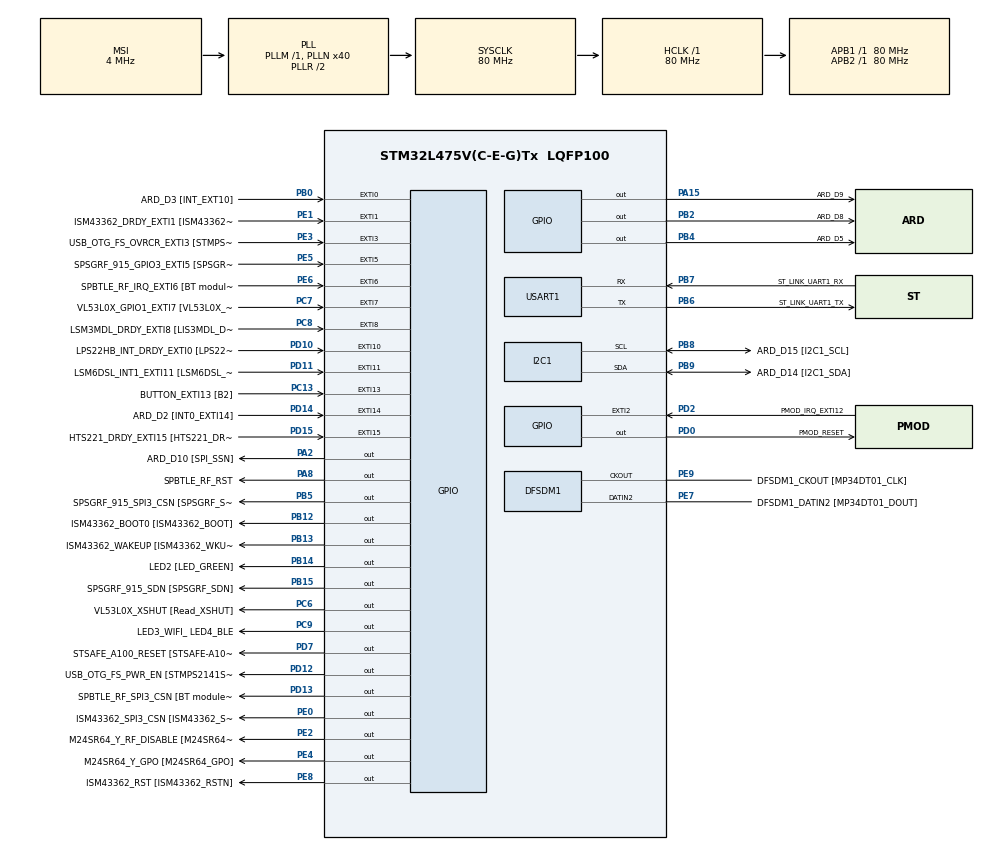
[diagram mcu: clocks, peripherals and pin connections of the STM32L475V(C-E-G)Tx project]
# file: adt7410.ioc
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I2C1.Timing=0x10909CEC
Mcu.Family=STM32L4
Mcu.Name=STM32L475V(C-E-G)Tx
Mcu.Package=LQFP100
NVIC.EXTI15_10_IRQn=true\:0\:0\:false\:false\:true\:true\:true\:true
NVIC.EXTI9_5_IRQn=true\:0\:0\:false\:false\:true\:true\:true\:true
NVIC.PriorityGroup=NVIC_PRIORITYGROUP_4
PA0.GPIO_Label=ARD_D1 [UART4_TX]
PA0.Signal=UART4_TX
PA1.GPIO_Label=ARD_D0 [UART4_RX]
PA1.Signal=UART4_RX
PA10.GPIO_Label=USB_OTG_FS_ID
PA10.Signal=USB_OTG_FS_ID
PA11.GPIO_Label=USB_OTG_FS_DM
PA11.Signal=USB_OTG_FS_DM
PA12.GPIO_Label=USB_OTG_FS_DP
PA12.Signal=USB_OTG_FS_DP
PA13\ (JTMS-SWDIO).GPIO_Label=SYS_JTMS_SWDIO
PA13\ (JTMS-SWDIO).Mode=Serial_Wire
PA13\ (JTMS-SWDIO).Signal=SYS_JTMS-SWDIO
PA14\ (JTCK-SWCLK).GPIO_Label=SYS_JTCK_SWCLK
PA14\ (JTCK-SWCLK).Mode=Serial_Wire
PA14\ (JTCK-SWCLK).Signal=SYS_JTCK-SWCLK
PA15\ (JTDI).GPIO_Label=ARD_D9
PA15\ (JTDI).Signal=GPIO_Output
PA2.GPIO_Label=ARD_D10 [SPI_SSN]
PA2.Signal=GPIO_Output
PA3.GPIO_Label=ARD_D4
PA3.Signal=S_TIM2_CH4
PA4.GPIO_Label=ARD_D7
PA4.Signal=ADCx_IN9
PA5.GPIO_Label=ARD_D13 [SPI1_SCK]
PA5.Signal=SPI1_SCK
PA6.GPIO_Label=ARD_D12 [SPI1_MISO]
PA6.Signal=SPI1_MISO
PA7.GPIO_Label=ARD_D11 [SPI1_MOSI]
PA7.Signal=SPI1_MOSI
PA8.GPIO_Label=SPBTLE_RF_RST
PA8.Signal=GPIO_Output
PA9.GPIO_Label=USB_OTG_FS_VBUS [STMPS2141STR_OUT]
PA9.Signal=USB_OTG_FS_VBUS
PB0.GPIO_Label=ARD_D3 [INT_EXT10]
PB0.Signal=GPXTI0
PB1.GPIO_Label=ARD_D6 [ADC1_IN6]
PB1.Signal=ADCx_IN16
PB10.GPIO_Label=INTERNAL_I2C2_SCL [VL53L0X_SCL]
PB10.GPIO_Pu=GPIO_PULLUP
PB10.Signal=I2C2_SCL
PB11.GPIO_Label=INTERNAL_I2C2_SDA [VL53L0X_SDA]
PB11.GPIO_Pu=GPIO_PULLUP
PB11.Signal=I2C2_SDA
PB12.GPIO_Label=ISM43362_BOOT0 [ISM43362_BOOT]
PB12.Signal=GPIO_Output
PB13.GPIO_Label=ISM43362_WAKEUP [ISM43362_WKUP]
PB13.Signal=GPIO_Output
PB14.GPIO_Label=LED2 [LED_GREEN]
PB14.Signal=GPIO_Output
PB15.GPIO_Label=SPSGRF_915_SDN [SPSGRF_SDN]
PB15.Signal=GPIO_Output
PB2.GPIO_Label=ARD_D8
PB2.Signal=GPIO_Output
PB3\ (JTDO-TRACESWO).GPIO_Label=SYS_JTD0_SWO
PB3\ (JTDO-TRACESWO).Signal=SYS_JTDO-SWO
PB4\ (NJTRST).GPIO_Label=ARD_D5
PB4\ (NJTRST).Signal=GPIO_Output
PB5.GPIO_Label=SPSGRF_915_SPI3_CSN [SPSGRF_SPI_CS]
PB5.PinState=GPIO_PIN_SET
PB5.Signal=GPIO_Output
PB6.GPIO_Label=ST_LINK_UART1_TX
PB6.Mode=Asynchronous
PB6.Signal=USART1_TX
PB7.GPIO_Label=ST_LINK_UART1_RX
PB7.Mode=Asynchronous
PB7.Signal=USART1_RX
PB8.GPIO_Label=ARD_D15 [I2C1_SCL]
PB8.Mode=I2C
PB8.Signal=I2C1_SCL
PB9.GPIO_Label=ARD_D14 [I2C1_SDA]
PB9.Mode=I2C
PB9.Signal=I2C1_SDA
PC0.GPIO_Label=ARD_A5 [ADC]
PC0.Signal=ADCx_IN1
PC1.GPIO_Label=ARD_A4 [ADC]
PC1.Signal=ADCx_IN2
PC10.GPIO_Label=INTERNAL_SPI3_SCK [BT module_SPI_SCLK] [ISM43362_SCK]
PC10.Signal=SPI3_SCK
PC11.GPIO_Label=INTERNAL_SPI3_MISO [BT module_SPI_MISO] [ISM43362_MISO]
PC11.Signal=SPI3_MISO
PC12.GPIO_Label=INTERNAL_SPI3_MOSI [BT module_SPI_MOSI] [ISM43362_MOSI]
PC12.Signal=SPI3_MOSI
PC13.GPIO_Label=BUTTON_EXTI13 [B2]
PC13.GPIO_ModeDefaultEXTI=GPIO_MODE_IT_FALLING
PC13.Signal=GPXTI13
PC14-OSC32_IN\ (PC14).Mode=LSE-External-Oscillator
PC14-OSC32_IN\ (PC14).Signal=RCC_OSC32_IN
PC15-OSC32_OUT\ (PC15).Mode=LSE-External-Oscillator
PC15-OSC32_OUT\ (PC15).Signal=RCC_OSC32_OUT
PC2.GPIO_Label=ARD_A3 [ADC]
PC2.Signal=ADCx_IN3
PC3.GPIO_Label=ARD_A2 [ADC]
PC3.Signal=ADCx_IN4
PC4.GPIO_Label=ARD_A1 [ADC]
PC4.Signal=ADCx_IN13
PC5.GPIO_Label=ARD_A0 [ADC]
PC5.Signal=ADCx_IN14
PC6.GPIO_Label=VL53L0X_XSHUT [Read_XSHUT]
PC6.Signal=GPIO_Output
PC7.GPIO_Label=VL53L0X_GPIO1_EXTI7 [VL53L0X_GPIO1]
PC7.Signal=GPXTI7
PC8.GPIO_Label=LSM3MDL_DRDY_EXTI8 [LIS3MDL_DRDY]
PC8.Signal=GPXTI8
PC9.GPIO_Label=LED3_WIFI_ LED4_BLE
PC9.Signal=GPIO_Output
PD0.GPIO_Label=PMOD_RESET
PD0.Signal=GPIO_Output
PD1.GPIO_Label=PMOD_SPI2_SCK
PD1.Signal=SPI2_SCK
PD10.GPIO_Label=LPS22HB_INT_DRDY_EXTI0 [LPS22HB_INT_DRDY] 
PD10.Signal=GPXTI10
PD11.GPIO_Label=LSM6DSL_INT1_EXTI11 [LSM6DSL_INT1]
PD11.Signal=GPXTI11
PD12.GPIO_Label=USB_OTG_FS_PWR_EN [STMPS2141STR_EN]
PD12.Signal=GPIO_Output
PD13.GPIO_Label=SPBTLE_RF_SPI3_CSN [BT module_SPI_CS]
PD13.PinState=GPIO_PIN_SET
PD13.Signal=GPIO_Output
PD14.GPIO_Label=ARD_D2 [INT0_EXTI14]
PD14.Signal=GPXTI14
PD15.GPIO_Label=HTS221_DRDY_EXTI15 [HTS221_DRDY]
PD15.Signal=GPXTI15
PD2.GPIO_Label=PMOD_IRQ_EXTI12
PD2.Signal=GPXTI2
PD3.GPIO_Label=PMOD_UART2_CTS
PD3.Signal=USART2_CTS
PD4.GPIO_Label=PMOD_UART2_RTS
PD4.Signal=USART2_RTS
PD5.GPIO_Label=PMOD_UART2_TX
PD5.Signal=USART2_TX
PD6.GPIO_Label=PMOD_UART2_RX
PD6.Signal=USART2_RX
PD7.GPIO_Label=STSAFE_A100_RESET [STSAFE-A100_RESET]
PD7.Signal=GPIO_Output
PD8.GPIO_Label=INTERNAL_UART3_TX [ISM43362_RX]
PD8.Signal=USART3_TX
PD9.GPIO_Label=INTERNAL_UART3_RX [ISM43362_TX]
PD9.Signal=USART3_RX
PE0.GPIO_Label=ISM43362_SPI3_CSN [ISM43362_SSN]
PE0.PinState=GPIO_PIN_SET
PE0.Signal=GPIO_Output
PE1.GPIO_Label=ISM43362_DRDY_EXTI1 [ISM43362_DATARDY]
PE1.Signal=GPXTI1
PE10.GPIO_Label=QUADSPI_CLK [MX25R6435F_SCLK]
PE10.Signal=QUADSPI_CLK
PE11.GPIO_Label=QUADSPI_NCS [MX25R6435F_SCLK]
PE11.Signal=QUADSPI_NCS
PE12.GPIO_Label=OQUADSPI_BK1_IO0 [MX25R6435F_IO0]
PE12.Signal=QUADSPI_BK1_IO0
PE13.GPIO_Label=QUADSPI_BK1_IO1 [MX25R6435F_IO1]
PE13.Signal=QUADSPI_BK1_IO1
PE14.GPIO_Label=QUAD_SPI_BK1_IO2 [MX25R6435F_IO2]
PE14.Signal=QUADSPI_BK1_IO2
PE15.GPIO_Label=QUAD_SPI_BK1_IO3 [MX25R6435F_IO3]
PE15.Signal=QUADSPI_BK1_IO3
PE2.GPIO_Label=M24SR64_Y_RF_DISABLE [M24SR64_RFDIS]
PE2.Signal=GPIO_Output
PE3.GPIO_Label=USB_OTG_FS_OVRCR_EXTI3 [STMPS2141STR_FAULT]
PE3.Signal=GPXTI3
PE4.GPIO_Label=M24SR64_Y_GPO [M24SR64_GPO]
PE4.Signal=GPIO_Output
PE5.GPIO_Label=SPSGRF_915_GPIO3_EXTI5 [SPSGRF_GPIO_3]
PE5.Signal=GPXTI5
PE6.GPIO_Label=SPBTLE_RF_IRQ_EXTI6 [BT module_SPI_IRQ]
PE6.Signal=GPXTI6
PE7.GPIO_Label=DFSDM1_DATIN2 [MP34DT01_DOUT]
PE7.Signal=S_DATAIN2DFSDM1
PE8.GPIO_Label=ISM43362_RST [ISM43362_RSTN]
PE8.Signal=GPIO_Output
PE9.GPIO_Label=DFSDM1_CKOUT [MP34DT01_CLK]
PE9.Signal=S_CKOUTDFSDM1
ProjectManager.HeapSize=0x200
ProjectManager.StackSize=0x400
ProjectManager.TargetToolchain=STM32CubeIDE
RCC.ADCFreq_Value=48000000
RCC.AHBFreq_Value=80000000
RCC.APB1Freq_Value=80000000
RCC.APB1TimFreq_Value=80000000
RCC.APB2Freq_Value=80000000
RCC.APB2TimFreq_Value=80000000
RCC.CortexFreq_Value=80000000
RCC.HCLKFreq_Value=80000000
RCC.HSE_VALUE=8000000
RCC.HSI_VALUE=16000000
RCC.MSI_VALUE=4000000
RCC.PLLN=40
RCC.PLLSAI1N=24
RCC.SYSCLKFreq_VALUE=80000000
RCC.SYSCLKSource=RCC_SYSCLKSOURCE_PLLCLK
RCC.USBFreq_Value=48000000
RCC.VCOOutputFreq_Value=160000000
SH.ADCx_IN1.0=ADC1_IN1
SH.ADCx_IN13.0=ADC1_IN13
SH.ADCx_IN14.0=ADC1_IN14
SH.ADCx_IN16.0=ADC1_IN16
SH.ADCx_IN2.0=ADC1_IN2
SH.ADCx_IN3.0=ADC1_IN3
SH.ADCx_IN4.0=ADC1_IN4
SH.ADCx_IN9.0=ADC1_IN9
SH.S_CKOUTDFSDM1.0=DFSDM1_CKOUT,CKOUT
SH.S_CKOUTDFSDM1.1=DFSDM1_CKOUT,PDM_SPI_Input_from_ch12_and_Internal_Clock
SH.S_DATAIN2DFSDM1.0=DFSDM1_DATIN2,PDM_SPI_Input_from_ch12_and_Internal_Clock
SH.S_TIM2_CH4.0=TIM2_CH4
USART1.VirtualMode-Asynchronous=VM_ASYNC
board=B-L475E-IOT01A1

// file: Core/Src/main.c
/* USER CODE BEGIN Header */
/**
 ******************************************************************************
 * @file           : main.c
 * @brief          : Main program body
 ******************************************************************************
 * @attention
 *
 * Copyright (c) 2022 STMicroelectronics.
 * All rights reserved.
 *
 * This software is licensed under terms that can be found in the LICENSE file
 * in the root directory of this software component.
 * If no LICENSE file comes with this software, it is provided AS-IS.
 *
 ******************************************************************************
 */
/* USER CODE END Header */
#include "main.h"

/* USER CODE BEGIN Includes */
#include "stdio.h"
#include "adt74x0.h"
/* USER CODE END Includes */

/* USER CODE BEGIN PTD */
#define ADT7410_ADDR (0x48 << 1)
#define ADT7410_CHIP_ID 0xCB
/* USER CODE END PTD */

DFSDM_Channel_HandleTypeDef hdfsdm1_channel1;

I2C_HandleTypeDef hi2c1;

UART_HandleTypeDef huart1;

void SystemClock_Config(void);
static void MX_GPIO_Init(void);
static void MX_DFSDM1_Init(void);
static void MX_USART1_UART_Init(void);
static void MX_I2C1_Init(void);

/* USER CODE BEGIN 0 */
int __io_putchar(int ch) {
	HAL_UART_Transmit(&huart1, (uint8_t*) &ch, 1, 0xFFFF);
	return ch;
}
/* USER CODE END 0 */

int main(void) {
	/* USER CODE BEGIN 1 */
	uint8_t chip_id;
	float tempC;
	HAL_StatusTypeDef result;

	/* USER CODE END 1 */

	/* MCU Configuration--------------------------------------------------------*/

	/* Reset of all peripherals, Initializes the Flash interface and the Systick. */
	HAL_Init();

	/* Configure the system clock */
	SystemClock_Config();

	/* Initialize all configured peripherals */
	MX_GPIO_Init();
	MX_DFSDM1_Init();
	MX_USART1_UART_Init();
	MX_I2C1_Init();
	/* USER CODE BEGIN 2 */

	if (HAL_I2C_IsDeviceReady(&hi2c1, ADT74x0_ADDRESS, 2, HAL_MAX_DELAY)
			!= HAL_OK) {
		Error_Handler();
	}

	if (adt74x0_init(&hi2c1) != HAL_OK) {
		Error_Handler();
	}

	if(adt74x0_read_chip_id(&hi2c1, &chip_id) != HAL_OK){
		Error_Handler();
	}

	if(chip_id != CHIP_ID){
		Error_Handler();
	}

	/* USER CODE END 2 */

	/* Infinite loop */
	while (1) {

		/* USER CODE BEGIN 3 */
		result = adt74x0_read_temp(&hi2c1, &tempC);
		if(result == HAL_OK){
			printf("Temperature = %3.2fC\r\n", tempC);
		}
		HAL_Delay(1000);
	}
	/* USER CODE END 3 */
}

void SystemClock_Config(void) {
	RCC_OscInitTypeDef RCC_OscInitStruct = { 0 };
	RCC_ClkInitTypeDef RCC_ClkInitStruct = { 0 };

	/** Configure the main internal regulator output voltage
	 */
	if (HAL_PWREx_ControlVoltageScaling(PWR_REGULATOR_VOLTAGE_SCALE1)
			!= HAL_OK) {
		Error_Handler();
	}

	/** Configure LSE Drive Capability
	 */
	HAL_PWR_EnableBkUpAccess();
	__HAL_RCC_LSEDRIVE_CONFIG(RCC_LSEDRIVE_LOW);

	/** Initializes the RCC Oscillators according to the specified parameters
	 * in the RCC_OscInitTypeDef structure.
	 */
	RCC_OscInitStruct.OscillatorType = RCC_OSCILLATORTYPE_LSE
			| RCC_OSCILLATORTYPE_MSI;
	RCC_OscInitStruct.LSEState = RCC_LSE_ON;
	RCC_OscInitStruct.MSIState = RCC_MSI_ON;
	RCC_OscInitStruct.MSICalibrationValue = 0;
	RCC_OscInitStruct.MSIClockRange = RCC_MSIRANGE_6;
	RCC_OscInitStruct.PLL.PLLState = RCC_PLL_ON;
	RCC_OscInitStruct.PLL.PLLSource = RCC_PLLSOURCE_MSI;
	RCC_OscInitStruct.PLL.PLLM = 1;
	RCC_OscInitStruct.PLL.PLLN = 40;
	RCC_OscInitStruct.PLL.PLLP = RCC_PLLP_DIV7;
	RCC_OscInitStruct.PLL.PLLQ = RCC_PLLQ_DIV2;
	RCC_OscInitStruct.PLL.PLLR = RCC_PLLR_DIV2;
	if (HAL_RCC_OscConfig(&RCC_OscInitStruct) != HAL_OK) {
		Error_Handler();
	}

	/** Initializes the CPU, AHB and APB buses clocks
	 */
	RCC_ClkInitStruct.ClockType = RCC_CLOCKTYPE_HCLK | RCC_CLOCKTYPE_SYSCLK
			| RCC_CLOCKTYPE_PCLK1 | RCC_CLOCKTYPE_PCLK2;
	RCC_ClkInitStruct.SYSCLKSource = RCC_SYSCLKSOURCE_PLLCLK;
	RCC_ClkInitStruct.AHBCLKDivider = RCC_SYSCLK_DIV1;
	RCC_ClkInitStruct.APB1CLKDivider = RCC_HCLK_DIV1;
	RCC_ClkInitStruct.APB2CLKDivider = RCC_HCLK_DIV1;

	if (HAL_RCC_ClockConfig(&RCC_ClkInitStruct, FLASH_LATENCY_4) != HAL_OK) {
		Error_Handler();
	}

	/** Enable MSI Auto calibration
	 */
	HAL_RCCEx_EnableMSIPLLMode();
}

static void MX_DFSDM1_Init(void) {

	hdfsdm1_channel1.Instance = DFSDM1_Channel1;
	hdfsdm1_channel1.Init.OutputClock.Activation = ENABLE;
	hdfsdm1_channel1.Init.OutputClock.Selection =
	DFSDM_CHANNEL_OUTPUT_CLOCK_SYSTEM;
	hdfsdm1_channel1.Init.OutputClock.Divider = 2;
	hdfsdm1_channel1.Init.Input.Multiplexer = DFSDM_CHANNEL_EXTERNAL_INPUTS;
	hdfsdm1_channel1.Init.Input.DataPacking = DFSDM_CHANNEL_STANDARD_MODE;
	hdfsdm1_channel1.Init.Input.Pins = DFSDM_CHANNEL_FOLLOWING_CHANNEL_PINS;
	hdfsdm1_channel1.Init.SerialInterface.Type = DFSDM_CHANNEL_SPI_RISING;
	hdfsdm1_channel1.Init.SerialInterface.SpiClock =
	DFSDM_CHANNEL_SPI_CLOCK_INTERNAL;
	hdfsdm1_channel1.Init.Awd.FilterOrder = DFSDM_CHANNEL_FASTSINC_ORDER;
	hdfsdm1_channel1.Init.Awd.Oversampling = 1;
	hdfsdm1_channel1.Init.Offset = 0;
	hdfsdm1_channel1.Init.RightBitShift = 0x00;
	if (HAL_DFSDM_ChannelInit(&hdfsdm1_channel1) != HAL_OK) {
		Error_Handler();
	}

}

static void MX_I2C1_Init(void) {

	hi2c1.Instance = I2C1;
	hi2c1.Init.Timing = 0x10909CEC;
	hi2c1.Init.OwnAddress1 = 0;
	hi2c1.Init.AddressingMode = I2C_ADDRESSINGMODE_7BIT;
	hi2c1.Init.DualAddressMode = I2C_DUALADDRESS_DISABLE;
	hi2c1.Init.OwnAddress2 = 0;
	hi2c1.Init.OwnAddress2Masks = I2C_OA2_NOMASK;
	hi2c1.Init.GeneralCallMode = I2C_GENERALCALL_DISABLE;
	hi2c1.Init.NoStretchMode = I2C_NOSTRETCH_DISABLE;
	if (HAL_I2C_Init(&hi2c1) != HAL_OK) {
		Error_Handler();
	}

	/** Configure Analogue filter
	 */
	if (HAL_I2CEx_ConfigAnalogFilter(&hi2c1, I2C_ANALOGFILTER_ENABLE)
			!= HAL_OK) {
		Error_Handler();
	}

	/** Configure Digital filter
	 */
	if (HAL_I2CEx_ConfigDigitalFilter(&hi2c1, 0) != HAL_OK) {
		Error_Handler();
	}

}

static void MX_USART1_UART_Init(void) {

	huart1.Instance = USART1;
	huart1.Init.BaudRate = 115200;
	huart1.Init.WordLength = UART_WORDLENGTH_8B;
	huart1.Init.StopBits = UART_STOPBITS_1;
	huart1.Init.Parity = UART_PARITY_NONE;
	huart1.Init.Mode = UART_MODE_TX_RX;
	huart1.Init.HwFlowCtl = UART_HWCONTROL_NONE;
	huart1.Init.OverSampling = UART_OVERSAMPLING_16;
	huart1.Init.OneBitSampling = UART_ONE_BIT_SAMPLE_DISABLE;
	huart1.AdvancedInit.AdvFeatureInit = UART_ADVFEATURE_NO_INIT;
	if (HAL_UART_Init(&huart1) != HAL_OK) {
		Error_Handler();
	}

}

static void MX_GPIO_Init(void) {
	GPIO_InitTypeDef GPIO_InitStruct = { 0 };

	/* GPIO Ports Clock Enable */
	__HAL_RCC_GPIOE_CLK_ENABLE();
	__HAL_RCC_GPIOC_CLK_ENABLE();
	__HAL_RCC_GPIOA_CLK_ENABLE();
	__HAL_RCC_GPIOB_CLK_ENABLE();
	__HAL_RCC_GPIOD_CLK_ENABLE();

	/*Configure GPIO pin Output Level */
	HAL_GPIO_WritePin(GPIOE,
	M24SR64_Y_RF_DISABLE_Pin | M24SR64_Y_GPO_Pin | ISM43362_RST_Pin,
			GPIO_PIN_RESET);

	/*Configure GPIO pin Output Level */
	HAL_GPIO_WritePin(GPIOA, ARD_D10_Pin | SPBTLE_RF_RST_Pin | ARD_D9_Pin,
			GPIO_PIN_RESET);

	/*Configure GPIO pin Output Level */
	HAL_GPIO_WritePin(GPIOB,
			ARD_D8_Pin | ISM43362_BOOT0_Pin | ISM43362_WAKEUP_Pin | LED2_Pin
					| SPSGRF_915_SDN_Pin | ARD_D5_Pin, GPIO_PIN_RESET);

	/*Configure GPIO pin Output Level */
	HAL_GPIO_WritePin(GPIOD,
	USB_OTG_FS_PWR_EN_Pin | PMOD_RESET_Pin | STSAFE_A100_RESET_Pin,
			GPIO_PIN_RESET);

	/*Configure GPIO pin Output Level */
	HAL_GPIO_WritePin(SPBTLE_RF_SPI3_CSN_GPIO_Port, SPBTLE_RF_SPI3_CSN_Pin,
			GPIO_PIN_SET);

	/*Configure GPIO pin Output Level */
	HAL_GPIO_WritePin(GPIOC, VL53L0X_XSHUT_Pin | LED3_WIFI__LED4_BLE_Pin,
			GPIO_PIN_RESET);

	/*Configure GPIO pin Output Level */
	HAL_GPIO_WritePin(SPSGRF_915_SPI3_CSN_GPIO_Port, SPSGRF_915_SPI3_CSN_Pin,
			GPIO_PIN_SET);

	/*Configure GPIO pin Output Level */
	HAL_GPIO_WritePin(ISM43362_SPI3_CSN_GPIO_Port, ISM43362_SPI3_CSN_Pin,
			GPIO_PIN_SET);

	/*Configure GPIO pins : M24SR64_Y_RF_DISABLE_Pin M24SR64_Y_GPO_Pin ISM43362_RST_Pin ISM43362_SPI3_CSN_Pin */
	GPIO_InitStruct.Pin = M24SR64_Y_RF_DISABLE_Pin | M24SR64_Y_GPO_Pin
			| ISM43362_RST_Pin | ISM43362_SPI3_CSN_Pin;
	GPIO_InitStruct.Mode = GPIO_MODE_OUTPUT_PP;
	GPIO_InitStruct.Pull = GPIO_NOPULL;
	GPIO_InitStruct.Speed = GPIO_SPEED_FREQ_LOW;
	HAL_GPIO_Init(GPIOE, &GPIO_InitStruct);

	/*Configure GPIO pins : USB_OTG_FS_OVRCR_EXTI3_Pin SPSGRF_915_GPIO3_EXTI5_Pin SPBTLE_RF_IRQ_EXTI6_Pin ISM43362_DRDY_EXTI1_Pin */
	GPIO_InitStruct.Pin = USB_OTG_FS_OVRCR_EXTI3_Pin
			| SPSGRF_915_GPIO3_EXTI5_Pin | SPBTLE_RF_IRQ_EXTI6_Pin
			| ISM43362_DRDY_EXTI1_Pin;
	GPIO_InitStruct.Mode = GPIO_MODE_IT_RISING;
	GPIO_InitStruct.Pull = GPIO_NOPULL;
	HAL_GPIO_Init(GPIOE, &GPIO_InitStruct);

	/*Configure GPIO pin : BUTTON_EXTI13_Pin */
	GPIO_InitStruct.Pin = BUTTON_EXTI13_Pin;
	GPIO_InitStruct.Mode = GPIO_MODE_IT_FALLING;
	GPIO_InitStruct.Pull = GPIO_NOPULL;
	HAL_GPIO_Init(BUTTON_EXTI13_GPIO_Port, &GPIO_InitStruct);

	/*Configure GPIO pins : ARD_A5_Pin ARD_A4_Pin ARD_A3_Pin ARD_A2_Pin
	 ARD_A1_Pin ARD_A0_Pin */
	GPIO_InitStruct.Pin = ARD_A5_Pin | ARD_A4_Pin | ARD_A3_Pin | ARD_A2_Pin
			| ARD_A1_Pin | ARD_A0_Pin;
	GPIO_InitStruct.Mode = GPIO_MODE_ANALOG_ADC_CONTROL;
	GPIO_InitStruct.Pull = GPIO_NOPULL;
	HAL_GPIO_Init(GPIOC, &GPIO_InitStruct);

	/*Configure GPIO pins : ARD_D1_Pin ARD_D0_Pin */
	GPIO_InitStruct.Pin = ARD_D1_Pin | ARD_D0_Pin;
	GPIO_InitStruct.Mode = GPIO_MODE_AF_PP;
	GPIO_InitStruct.Pull = GPIO_NOPULL;
	GPIO_InitStruct.Speed = GPIO_SPEED_FREQ_VERY_HIGH;
	GPIO_InitStruct.Alternate = GPIO_AF8_UART4;
	HAL_GPIO_Init(GPIOA, &GPIO_InitStruct);

	/*Configure GPIO pins : ARD_D10_Pin SPBTLE_RF_RST_Pin ARD_D9_Pin */
	GPIO_InitStruct.Pin = ARD_D10_Pin | SPBTLE_RF_RST_Pin | ARD_D9_Pin;
	GPIO_InitStruct.Mode = GPIO_MODE_OUTPUT_PP;
	GPIO_InitStruct.Pull = GPIO_NOPULL;
	GPIO_InitStruct.Speed = GPIO_SPEED_FREQ_LOW;
	HAL_GPIO_Init(GPIOA, &GPIO_InitStruct);

	/*Configure GPIO pin : ARD_D4_Pin */
	GPIO_InitStruct.Pin = ARD_D4_Pin;
	GPIO_InitStruct.Mode = GPIO_MODE_AF_PP;
	GPIO_InitStruct.Pull = GPIO_NOPULL;
	GPIO_InitStruct.Speed = GPIO_SPEED_FREQ_LOW;
	GPIO_InitStruct.Alternate = GPIO_AF1_TIM2;
	HAL_GPIO_Init(ARD_D4_GPIO_Port, &GPIO_InitStruct);

	/*Configure GPIO pin : ARD_D7_Pin */
	GPIO_InitStruct.Pin = ARD_D7_Pin;
	GPIO_InitStruct.Mode = GPIO_MODE_ANALOG_ADC_CONTROL;
	GPIO_InitStruct.Pull = GPIO_NOPULL;
	HAL_GPIO_Init(ARD_D7_GPIO_Port, &GPIO_InitStruct);

	/*Configure GPIO pins : ARD_D13_Pin ARD_D12_Pin ARD_D11_Pin */
	GPIO_InitStruct.Pin = ARD_D13_Pin | ARD_D12_Pin | ARD_D11_Pin;
	GPIO_InitStruct.Mode = GPIO_MODE_AF_PP;
	GPIO_InitStruct.Pull = GPIO_NOPULL;
	GPIO_InitStruct.Speed = GPIO_SPEED_FREQ_VERY_HIGH;
	GPIO_InitStruct.Alternate = GPIO_AF5_SPI1;
	HAL_GPIO_Init(GPIOA, &GPIO_InitStruct);

	/*Configure GPIO pin : ARD_D3_Pin */
	GPIO_InitStruct.Pin = ARD_D3_Pin;
	GPIO_InitStruct.Mode = GPIO_MODE_IT_RISING;
	GPIO_InitStruct.Pull = GPIO_NOPULL;
	HAL_GPIO_Init(ARD_D3_GPIO_Port, &GPIO_InitStruct);

	/*Configure GPIO pin : ARD_D6_Pin */
	GPIO_InitStruct.Pin = ARD_D6_Pin;
	GPIO_InitStruct.Mode = GPIO_MODE_ANALOG_ADC_CONTROL;
	GPIO_InitStruct.Pull = GPIO_NOPULL;
	HAL_GPIO_Init(ARD_D6_GPIO_Port, &GPIO_InitStruct);

	/*Configure GPIO pins : ARD_D8_Pin ISM43362_BOOT0_Pin ISM43362_WAKEUP_Pin LED2_Pin
	 SPSGRF_915_SDN_Pin ARD_D5_Pin SPSGRF_915_SPI3_CSN_Pin */
	GPIO_InitStruct.Pin = ARD_D8_Pin | ISM43362_BOOT0_Pin | ISM43362_WAKEUP_Pin
			| LED2_Pin | SPSGRF_915_SDN_Pin | ARD_D5_Pin
			| SPSGRF_915_SPI3_CSN_Pin;
	GPIO_InitStruct.Mode = GPIO_MODE_OUTPUT_PP;
	GPIO_InitStruct.Pull = GPIO_NOPULL;
	GPIO_InitStruct.Speed = GPIO_SPEED_FREQ_LOW;
	HAL_GPIO_Init(GPIOB, &GPIO_InitStruct);

	/*Configure GPIO pins : QUADSPI_CLK_Pin QUADSPI_NCS_Pin OQUADSPI_BK1_IO0_Pin QUADSPI_BK1_IO1_Pin
	 QUAD_SPI_BK1_IO2_Pin QUAD_SPI_BK1_IO3_Pin */
	GPIO_InitStruct.Pin = QUADSPI_CLK_Pin | QUADSPI_NCS_Pin
			| OQUADSPI_BK1_IO0_Pin | QUADSPI_BK1_IO1_Pin | QUAD_SPI_BK1_IO2_Pin
			| QUAD_SPI_BK1_IO3_Pin;
	GPIO_InitStruct.Mode = GPIO_MODE_AF_PP;
	GPIO_InitStruct.Pull = GPIO_NOPULL;
	GPIO_InitStruct.Speed = GPIO_SPEED_FREQ_VERY_HIGH;
	GPIO_InitStruct.Alternate = GPIO_AF10_QUADSPI;
	HAL_GPIO_Init(GPIOE, &GPIO_InitStruct);

	/*Configure GPIO pins : INTERNAL_I2C2_SCL_Pin INTERNAL_I2C2_SDA_Pin */
	GPIO_InitStruct.Pin = INTERNAL_I2C2_SCL_Pin | INTERNAL_I2C2_SDA_Pin;
	GPIO_InitStruct.Mode = GPIO_MODE_AF_OD;
	GPIO_InitStruct.Pull = GPIO_PULLUP;
	GPIO_InitStruct.Speed = GPIO_SPEED_FREQ_VERY_HIGH;
	GPIO_InitStruct.Alternate = GPIO_AF4_I2C2;
	HAL_GPIO_Init(GPIOB, &GPIO_InitStruct);

	/*Configure GPIO pins : INTERNAL_UART3_TX_Pin INTERNAL_UART3_RX_Pin */
	GPIO_InitStruct.Pin = INTERNAL_UART3_TX_Pin | INTERNAL_UART3_RX_Pin;
	GPIO_InitStruct.Mode = GPIO_MODE_AF_PP;
	GPIO_InitStruct.Pull = GPIO_NOPULL;
	GPIO_InitStruct.Speed = GPIO_SPEED_FREQ_VERY_HIGH;
	GPIO_InitStruct.Alternate = GPIO_AF7_USART3;
	HAL_GPIO_Init(GPIOD, &GPIO_InitStruct);

	/*Configure GPIO pins : LPS22HB_INT_DRDY_EXTI0_Pin LSM6DSL_INT1_EXTI11_Pin ARD_D2_Pin HTS221_DRDY_EXTI15_Pin
	 PMOD_IRQ_EXTI12_Pin */
	GPIO_InitStruct.Pin = LPS22HB_INT_DRDY_EXTI0_Pin | LSM6DSL_INT1_EXTI11_Pin
			| ARD_D2_Pin | HTS221_DRDY_EXTI15_Pin | PMOD_IRQ_EXTI12_Pin;
	GPIO_InitStruct.Mode = GPIO_MODE_IT_RISING;
	GPIO_InitStruct.Pull = GPIO_NOPULL;
	HAL_GPIO_Init(GPIOD, &GPIO_InitStruct);

	/*Configure GPIO pins : USB_OTG_FS_PWR_EN_Pin SPBTLE_RF_SPI3_CSN_Pin PMOD_RESET_Pin STSAFE_A100_RESET_Pin */
	GPIO_InitStruct.Pin = USB_OTG_FS_PWR_EN_Pin | SPBTLE_RF_SPI3_CSN_Pin
			| PMOD_RESET_Pin | STSAFE_A100_RESET_Pin;
	GPIO_InitStruct.Mode = GPIO_MODE_OUTPUT_PP;
	GPIO_InitStruct.Pull = GPIO_NOPULL;
	GPIO_InitStruct.Speed = GPIO_SPEED_FREQ_LOW;
	HAL_GPIO_Init(GPIOD, &GPIO_InitStruct);

	/*Configure GPIO pins : VL53L0X_XSHUT_Pin LED3_WIFI__LED4_BLE_Pin */
	GPIO_InitStruct.Pin = VL53L0X_XSHUT_Pin | LED3_WIFI__LED4_BLE_Pin;
	GPIO_InitStruct.Mode = GPIO_MODE_OUTPUT_PP;
	GPIO_InitStruct.Pull = GPIO_NOPULL;
	GPIO_InitStruct.Speed = GPIO_SPEED_FREQ_LOW;
	HAL_GPIO_Init(GPIOC, &GPIO_InitStruct);

	/*Configure GPIO pins : VL53L0X_GPIO1_EXTI7_Pin LSM3MDL_DRDY_EXTI8_Pin */
	GPIO_InitStruct.Pin = VL53L0X_GPIO1_EXTI7_Pin | LSM3MDL_DRDY_EXTI8_Pin;
	GPIO_InitStruct.Mode = GPIO_MODE_IT_RISING;
	GPIO_InitStruct.Pull = GPIO_NOPULL;
	HAL_GPIO_Init(GPIOC, &GPIO_InitStruct);

	/*Configure GPIO pin : USB_OTG_FS_VBUS_Pin */
	GPIO_InitStruct.Pin = USB_OTG_FS_VBUS_Pin;
	GPIO_InitStruct.Mode = GPIO_MODE_INPUT;
	GPIO_InitStruct.Pull = GPIO_NOPULL;
	HAL_GPIO_Init(USB_OTG_FS_VBUS_GPIO_Port, &GPIO_InitStruct);

	/*Configure GPIO pins : USB_OTG_FS_ID_Pin USB_OTG_FS_DM_Pin USB_OTG_FS_DP_Pin */
	GPIO_InitStruct.Pin = USB_OTG_FS_ID_Pin | USB_OTG_FS_DM_Pin
			| USB_OTG_FS_DP_Pin;
	GPIO_InitStruct.Mode = GPIO_MODE_AF_PP;
	GPIO_InitStruct.Pull = GPIO_NOPULL;
	GPIO_InitStruct.Speed = GPIO_SPEED_FREQ_VERY_HIGH;
	GPIO_InitStruct.Alternate = GPIO_AF10_OTG_FS;
	HAL_GPIO_Init(GPIOA, &GPIO_InitStruct);

	/*Configure GPIO pins : INTERNAL_SPI3_SCK_Pin INTERNAL_SPI3_MISO_Pin INTERNAL_SPI3_MOSI_Pin */
	GPIO_InitStruct.Pin = INTERNAL_SPI3_SCK_Pin | INTERNAL_SPI3_MISO_Pin
			| INTERNAL_SPI3_MOSI_Pin;
	GPIO_InitStruct.Mode = GPIO_MODE_AF_PP;
	GPIO_InitStruct.Pull = GPIO_NOPULL;
	GPIO_InitStruct.Speed = GPIO_SPEED_FREQ_VERY_HIGH;
	GPIO_InitStruct.Alternate = GPIO_AF6_SPI3;
	HAL_GPIO_Init(GPIOC, &GPIO_InitStruct);

	/*Configure GPIO pin : PMOD_SPI2_SCK_Pin */
	GPIO_InitStruct.Pin = PMOD_SPI2_SCK_Pin;
	GPIO_InitStruct.Mode = GPIO_MODE_AF_PP;
	GPIO_InitStruct.Pull = GPIO_NOPULL;
	GPIO_InitStruct.Speed = GPIO_SPEED_FREQ_VERY_HIGH;
	GPIO_InitStruct.Alternate = GPIO_AF5_SPI2;
	HAL_GPIO_Init(PMOD_SPI2_SCK_GPIO_Port, &GPIO_InitStruct);

	/*Configure GPIO pins : PMOD_UART2_CTS_Pin PMOD_UART2_RTS_Pin PMOD_UART2_TX_Pin PMOD_UART2_RX_Pin */
	GPIO_InitStruct.Pin = PMOD_UART2_CTS_Pin | PMOD_UART2_RTS_Pin
			| PMOD_UART2_TX_Pin | PMOD_UART2_RX_Pin;
	GPIO_InitStruct.Mode = GPIO_MODE_AF_PP;
	GPIO_InitStruct.Pull = GPIO_NOPULL;
	GPIO_InitStruct.Speed = GPIO_SPEED_FREQ_VERY_HIGH;
	GPIO_InitStruct.Alternate = GPIO_AF7_USART2;
	HAL_GPIO_Init(GPIOD, &GPIO_InitStruct);

	/* EXTI interrupt init*/
	HAL_NVIC_SetPriority(EXTI9_5_IRQn, 0, 0);
	HAL_NVIC_EnableIRQ(EXTI9_5_IRQn);

	HAL_NVIC_SetPriority(EXTI15_10_IRQn, 0, 0);
	HAL_NVIC_EnableIRQ(EXTI15_10_IRQn);

}

void Error_Handler(void) {
	__disable_irq();
	while (1) {
	}
}
